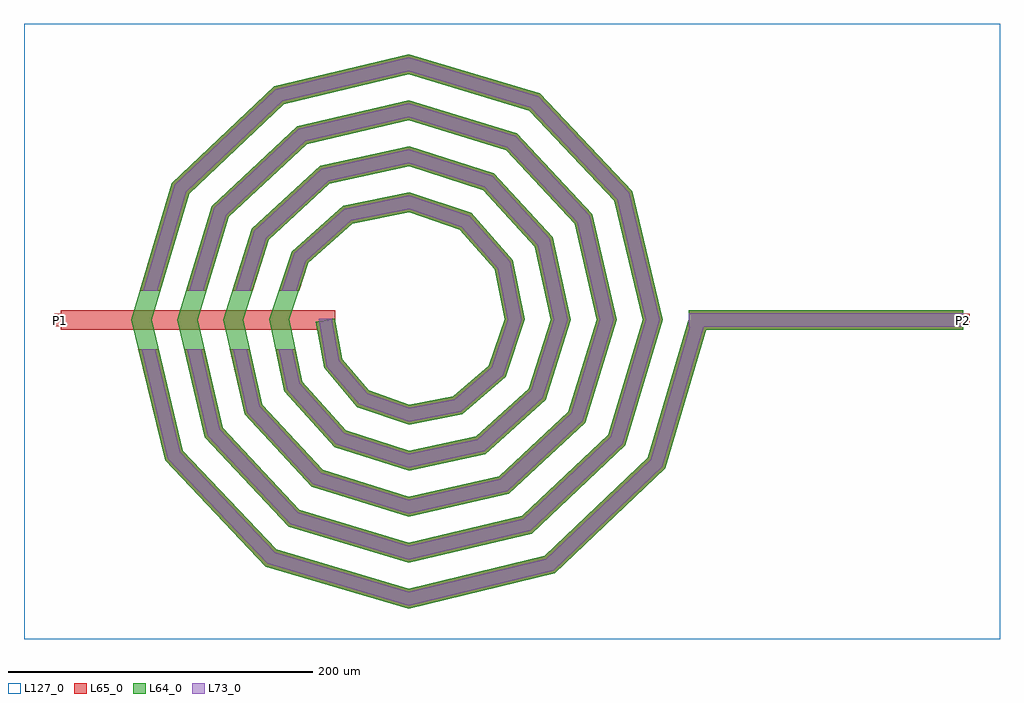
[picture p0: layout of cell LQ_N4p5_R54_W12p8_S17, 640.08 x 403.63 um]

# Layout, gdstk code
import gdstk
lib = gdstk.Library(unit=1e-6, precision=1e-09)
def R(c, l, rs):  # rectangles x0, y0, x1, y1
    for r in rs: c.add(gdstk.rectangle(r[:2], r[2:], *l))
def P(c, l, *ps):  # polygons
    for p in ps: c.add(gdstk.Polygon(p, *l))
L64_0 = (64, 0)
L65_0 = (65, 0)
L73_0 = (73, 0)
L127_0 = (127, 0)

lq_n4p5_r54_w12p8_s17 = lib.new_cell('LQ_N4p5_R54_W12p8_S17')
R(lq_n4p5_r54_w12p8_s17, L64_0, [(183.861,-6.4,363.861,6.4)])
P(lq_n4p5_r54_w12p8_s17, L64_0, [(-43.485,-25.732),(-26.068,-46.19),(0.499,-55.546),(29.444,-50.039),(52.684,-29.884),(63.079,0.445),(56.588,33.167),(33.691,59.185),(0.402,70.612),(-36.898,63.132),(-65.69,37.491),(-78.146,0.366),(-69.673,-40.636),(-41.285,-72.199),(0.336,-85.68),(44.379,-76.212),(78.71,-45.075),(93.214,0.311),(82.75,48.126),(48.863,85.224),(0.289,100.749),(-51.875,89.285),(-91.74,52.647),(-108.284,0.27),(-95.82,-55.627),(-56.43,-98.257),(0.254,-115.819),(59.381,-102.353),(104.775,-60.21),(123.354,0.239),(108.886,63.136),(63.99,111.293),(0.226,130.89),(-66.893,115.418),(-117.813,67.768),(-138.425,0.214),(-121.949,-70.65),(-71.545,-124.333),(0.203,-145.96),(74.409,-128.48),(130.854,-75.321),(153.495,0.194),(135.011,78.169),(79.097,137.375),(0.185,161.031),(-81.929,141.541),(-143.897,82.872),(-168.566,0.177),(-148.071,-85.69),(-86.646,-150.419),(0.17,-176.102),(89.452,-154.6),(156.942,-90.419),(184.122,1.809),(196.4,-1.809),(168.25,-97.33),(95.786,-166.241),(0.17,-189.35),(-93.568,-161.72),(-159.718,-92.011),(-181.814,0.177),(-155.19,89.807),(-88.237,153.196),(0.185,174.278),(86.046,148.66),(146.674,84.462),(166.742,0.194),(142.129,-82.286),(80.686,-140.152),(0.203,-159.206),(-78.526,-135.598),(-133.631,-76.909),(-151.67,0.214),(-129.066,74.768),(-73.131,127.11),(0.226,144.134),(71.01,122.534),(120.59,69.352),(136.598,0.239),(116,-67.254),(65.572,-114.071),(0.254,-129.062),(-63.499,-109.466),(-107.553,-61.79),(-121.526,0.27),(-102.931,59.746),(-58.006,101.035),(0.289,113.99),(55.995,96.395),(94.519,54.22),(106.454,0.311),(89.856,-52.247),(50.431,-88.004),(0.336,-98.917),(-48.502,-83.316),(-81.491,-46.638),(-91.38,0.366),(-76.773,44.76),(-42.841,74.98),(0.402,83.843),(41.024,70.226),(68.473,39.037),(76.305,0.445),(63.675,-37.296),(35.224,-61.969),(0.499,-68.766),(-33.576,-57.117),(-55.471,-31.4),(-60.919,-1.134),(-48.322,1.134)])
R(lq_n4p5_r54_w12p8_s17, L65_0, [(-228.22,-6.4,-48.22,6.4), (183.861,-6.4,363.861,6.4), (-232.22,-4,-224.22,4), (359.861,-4,367.861,4)])
P(lq_n4p5_r54_w12p8_s17, L65_0, [(-148.071,-85.69),(-86.646,-150.419),(0.17,-176.102),(89.452,-154.6),(156.942,-90.419),(184.122,1.809),(196.4,-1.809),(168.25,-97.33),(95.786,-166.241),(0.17,-189.35),(-93.568,-161.72),(-159.718,-92.012),(-177.169,-19.2),(-164.007,-19.2)],
  [(-121.949,-70.651),(-71.545,-124.333),(0.204,-145.96),(74.409,-128.48),(130.854,-75.321),(153.495,0.194),(135.011,78.169),(79.097,137.376),(0.185,161.031),(-81.929,141.541),(-143.897,82.872),(-162.81,19.2),(-176.163,19.2),(-155.19,89.807),(-88.237,153.196),(0.185,174.278),(86.046,148.66),(146.674,84.462),(166.742,0.194),(142.129,-82.286),(80.686,-140.152),(0.204,-159.206),(-78.526,-135.598),(-133.631,-76.909),(-147.129,-19.2),(-133.984,-19.2)],
  [(-95.82,-55.627),(-56.43,-98.257),(0.254,-115.819),(59.381,-102.353),(104.775,-60.21),(123.354,0.239),(108.886,63.136),(63.99,111.293),(0.226,130.89),(-66.893,115.418),(-117.813,67.768),(-132.539,19.2),(-145.914,19.2),(-129.066,74.768),(-73.131,127.11),(0.226,144.135),(71.01,122.534),(120.59,69.352),(136.599,0.239),(116.001,-67.254),(65.572,-114.071),(0.254,-129.062),(-63.499,-109.466),(-107.553,-61.79),(-117.142,-19.2),(-104.022,-19.2)],
  [(-69.673,-40.636),(-41.285,-72.199),(0.336,-85.68),(44.379,-76.212),(78.711,-45.075),(93.215,0.311),(82.75,48.126),(48.863,85.224),(0.289,100.749),(-51.875,89.285),(-91.74,52.647),(-102.197,19.2),(-115.608,19.2),(-102.931,59.746),(-58.006,101.035),(0.289,113.99),(55.995,96.395),(94.519,54.22),(106.454,0.311),(89.856,-52.247),(50.431,-88.004),(0.336,-98.917),(-48.502,-83.316),(-81.491,-46.638),(-87.264,-19.2),(-74.183,-19.2)],
  [(-26.068,-46.19),(0.499,-55.546),(29.444,-50.039),(52.684,-29.884),(63.079,0.445),(56.588,33.167),(33.691,59.185),(0.402,70.612),(-36.898,63.132),(-65.69,37.491),(-71.708,19.2),(-85.183,19.2),(-76.773,44.76),(-42.841,74.98),(0.402,83.843),(41.025,70.226),(68.473,39.037),(76.305,0.445),(63.675,-37.296),(35.224,-61.969),(0.499,-68.766),(-33.576,-57.117),(-55.471,-31.4),(-60.919,-1.134),(-48.322,1.134),(-43.485,-25.732)])
R(lq_n4p5_r54_w12p8_s17, L73_0, [(183.861,-4.4,363.861,4.4)])
P(lq_n4p5_r54_w12p8_s17, L73_0, [(-149.891,-86.678),(-87.727,-152.185),(0.117,-178.172),(90.442,-156.419),(158.709,-91.499),(186.041,1.244),(194.482,-1.244),(166.483,-96.25),(94.796,-164.422),(0.117,-187.28),(-92.486,-159.954),(-157.898,-91.024),(-175.113,-19.2),(-166.064,-19.2)],
  [(-123.775,-71.628),(-72.636,-126.093),(0.14,-148.03),(75.39,-130.304),(132.616,-76.409),(155.565,0.133),(136.833,79.152),(80.183,139.139),(0.127,163.101),(-82.915,143.362),(-145.662,83.955),(-164.897,19.2),(-174.077,19.2),(-153.426,88.723),(-87.251,151.375),(0.127,172.208),(84.96,146.897),(144.851,83.479),(164.672,0.133),(140.367,-81.198),(79.705,-138.328),(0.14,-157.137),(-77.436,-133.838),(-131.806,-75.931),(-145.075,-19.2),(-136.038,-19.2)],
  [(-97.653,-56.59),(-57.534,-100.008),(0.174,-117.888),(60.348,-104.184),(106.529,-61.311),(125.424,0.164),(110.715,64.107),(65.087,113.05),(0.155,132.959),(-67.867,117.245),(-119.571,68.862),(-134.629,19.2),(-143.824,19.2),(-127.308,73.674),(-72.156,125.284),(0.155,142.065),(69.913,120.777),(118.762,68.381),(134.529,0.164),(114.247,-66.154),(64.605,-112.24),(0.174,-126.993),(-62.395,-107.715),(-105.719,-60.827),(-115.092,-19.2),(-106.072,-19.2)],
  [(-71.52,-41.574),(-42.413,-73.936),(0.231,-87.748),(45.325,-78.055),(80.452,-46.196),(95.283,0.214),(84.589,49.078),(49.977,86.97),(0.199,102.818),(-52.833,91.121),(-93.488,53.756),(-104.292,19.2),(-113.512,19.2),(-101.183,58.637),(-57.048,99.199),(0.199,111.921),(54.881,94.649),(92.68,53.268),(104.385,0.214),(88.115,-51.126),(49.486,-86.161),(0.231,-96.849),(-47.374,-81.579),(-79.644,-45.701),(-85.22,-19.2),(-76.227,-19.2)],
  [(-27.241,-47.897),(0.343,-57.612),(30.347,-51.903),(54.401,-31.042),(65.145,0.306),(58.445,34.084),(34.837,60.91),(0.276,72.679),(-37.827,64.983),(-67.422,38.627),(-73.813,19.2),(-83.078,19.2),(-75.041,43.625),(-41.912,73.129),(0.276,81.775),(39.879,68.501),(66.616,38.12),(74.238,0.306),(61.958,-36.138),(34.321,-60.105),(0.343,-66.7),(-32.403,-55.409),(-53.598,-30.514),(-58.951,0.78),(-50.29,0.78),(-45.358,-26.618)])
R(lq_n4p5_r54_w12p8_s17, L127_0, [(-252.22,-209.35,387.861,194.278)])
lq_n4p5_r54_w12p8_s17.add(gdstk.Label('P2', (363.861,0), layer=65, texttype=0))
lq_n4p5_r54_w12p8_s17.add(gdstk.Label('P1', (-228.22,0), layer=65, texttype=0))
lq_n4p5_r54_w12p8_s17.add(gdstk.Label('P2', (367.861,0), layer=145, texttype=0))
lq_n4p5_r54_w12p8_s17.add(gdstk.Label('P1', (-232.22,0), layer=145, texttype=0))

lib.write_gds('LQ_N4p5_R54_W12p8_S17.gds')
